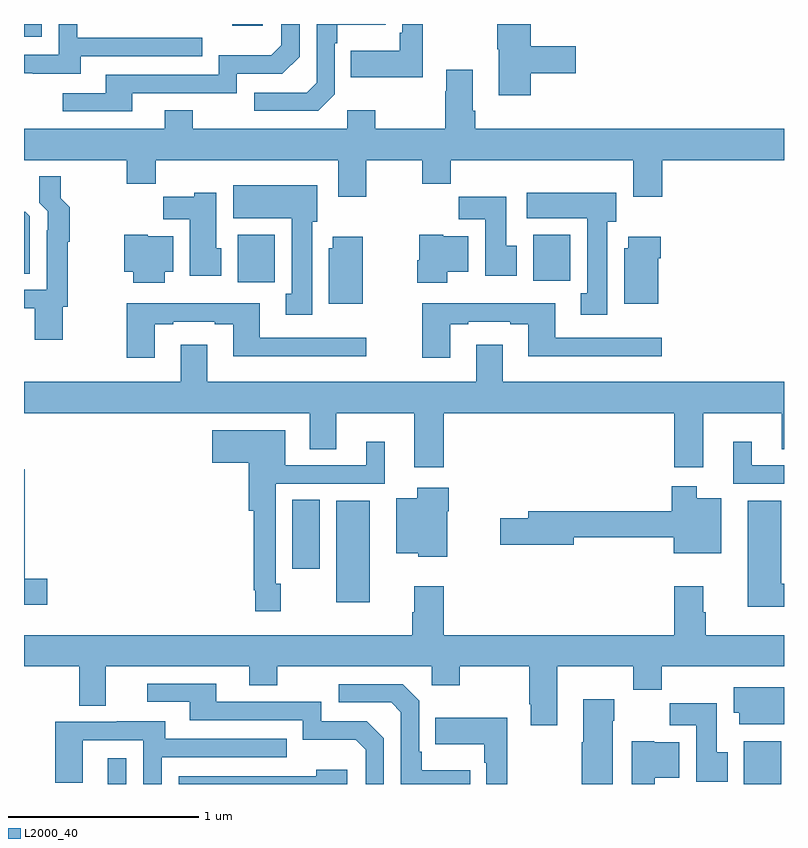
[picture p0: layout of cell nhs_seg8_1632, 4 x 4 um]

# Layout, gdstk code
import gdstk
lib = gdstk.Library(unit=1e-6, precision=1e-09)
def R(c, l, rs):  # rectangles x0, y0, x1, y1
    for r in rs: c.add(gdstk.rectangle(r[:2], r[2:], *l))
def P(c, l, *ps):  # polygons
    for p in ps: c.add(gdstk.Polygon(p, *l))
L2000_40 = (2000, 40)

nhs_seg8_1632 = lib.new_cell('nhs_seg8_1632')
R(nhs_seg8_1632, L2000_40, [(215.441,1095.9,215.538,1096.036), (218.789,1095.9,218.986,1096.126), (216.644,1096.856,216.82,1097.392), (216.413,1097.034,216.556,1097.396), (216.125,1098.54,216.321,1098.79), (217.679,1098.548,217.876,1098.79), (215,1099.833,215.094,1099.9), (216.095,1099.892,216.256,1099.9)])
P(nhs_seg8_1632, L2000_40, [(216.636,1099.53),(216.636,1099.799),(216.649,1099.799),(216.649,1099.895),(216.905,1099.895),(216.905,1099.9),(216.54,1099.9),(216.54,1099.59),(216.489,1099.539),(216.213,1099.539),(216.213,1099.443),(216.549,1099.443)],
  [(217.099,1099.9),(216.99,1099.9),(216.99,1099.855),(216.978,1099.855),(216.978,1099.759),(216.721,1099.759),(216.721,1099.619),(217.099,1099.619)],
  [(215.569,1099.536),(216.12,1099.536),(216.12,1099.638),(216.36,1099.638),(216.45,1099.728),(216.45,1099.9),(216.354,1099.9),(216.354,1099.788),(216.301,1099.735),(216.024,1099.735),(216.024,1099.632),(215.429,1099.632),(215.429,1099.536),(215.205,1099.536),(215.205,1099.44),(215.569,1099.44)],
  [(215.299,1099.731),(215.939,1099.731),(215.939,1099.827),(215.28,1099.827),(215.28,1099.9),(215.184,1099.9),(215.184,1099.737),(215,1099.737),(215,1099.641),(215.045,1099.641),(215.045,1099.637),(215.299,1099.637)],
  [(217.667,1099.642),(217.903,1099.642),(217.903,1099.784),(217.667,1099.784),(217.667,1099.9),(217.492,1099.9),(217.492,1099.767),(217.499,1099.767),(217.499,1099.524),(217.667,1099.524)],
  [(217.096,1099.06),(217.247,1099.06),(217.247,1099.184),(218.207,1099.184),(218.207,1098.99),(218.36,1098.99),(218.36,1099.184),(219,1099.184),(219,1099.348),(217.376,1099.348),(217.376,1099.444),(217.363,1099.444),(217.363,1099.66),(217.223,1099.66),(217.223,1099.547),(217.216,1099.547),(217.216,1099.348),(216.849,1099.348),(216.849,1099.447),(216.702,1099.447),(216.702,1099.348),(215.889,1099.348),(215.889,1099.447),(215.741,1099.447),(215.741,1099.348),(215,1099.348),(215,1099.184),(215.542,1099.184),(215.542,1099.06),(215.693,1099.06),(215.693,1099.184),(216.653,1099.184),(216.653,1098.99),(216.801,1098.99),(216.801,1099.184),(217.096,1099.184)],
  [(215.205,1098.411),(215.23,1098.411),(215.23,1098.754),(215.24,1098.754),(215.24,1098.936),(215.194,1098.982),(215.194,1099.099),(215.081,1099.099),(215.081,1098.958),(215.124,1098.915),(215.124,1098.815),(215.121,1098.815),(215.121,1098.501),(215,1098.501),(215,1098.404),(215.057,1098.404),(215.057,1098.237),(215.205,1098.237)],
  [(216.517,1098.858),(216.544,1098.858),(216.544,1099.051),(216.101,1099.051),(216.101,1098.878),(216.41,1098.878),(216.41,1098.481),(216.377,1098.481),(216.377,1098.369),(216.517,1098.369)],
  [(216.037,1098.72),(216.013,1098.72),(216.013,1099.012),(215.895,1099.012),(215.895,1098.99),(215.734,1098.99),(215.734,1098.872),(215.873,1098.872),(215.873,1098.576),(216.037,1098.576)],
  [(218.071,1098.858),(218.116,1098.858),(218.116,1099.012),(217.647,1099.012),(217.647,1098.878),(217.964,1098.878),(217.964,1098.482),(217.931,1098.482),(217.931,1098.369),(218.071,1098.369)],
  [(217.594,1098.732),(217.537,1098.732),(217.537,1098.991),(217.288,1098.991),(217.288,1098.872),(217.427,1098.872),(217.427,1098.576),(217.594,1098.576)],
  [(215.031,1098.888),(215.007,1098.912),(215,1098.912),(215,1098.586),(215.031,1098.586)],
  [(217.228,1098.596),(217.339,1098.596),(217.339,1098.784),(217.206,1098.784),(217.206,1098.79),(217.081,1098.79),(217.081,1098.657),(217.07,1098.657),(217.07,1098.539),(217.228,1098.539)],
  [(215.74,1098.596),(215.785,1098.596),(215.785,1098.784),(215.652,1098.784),(215.652,1098.79),(215.527,1098.79),(215.527,1098.596),(215.575,1098.596),(215.575,1098.539),(215.74,1098.539)],
  [(218.338,1098.668),(218.351,1098.668),(218.351,1098.781),(218.18,1098.781),(218.18,1098.72),(218.159,1098.72),(218.159,1098.428),(218.338,1098.428)],
  [(216.784,1098.781),(216.626,1098.781),(216.626,1098.72),(216.605,1098.72),(216.605,1098.428),(216.784,1098.428)],
  [(215.689,1098.321),(215.785,1098.321),(215.785,1098.333),(216.005,1098.333),(216.005,1098.321),(216.101,1098.321),(216.101,1098.152),(216.802,1098.152),(216.802,1098.249),(216.241,1098.249),(216.241,1098.43),(215.542,1098.43),(215.542,1098.144),(215.689,1098.144)],
  [(217.243,1098.321),(217.339,1098.321),(217.339,1098.333),(217.559,1098.333),(217.559,1098.321),(217.655,1098.321),(217.655,1098.152),(218.356,1098.152),(218.356,1098.249),(217.795,1098.249),(217.795,1098.43),(217.096,1098.43),(217.096,1098.144),(217.243,1098.144)],
  [(217.208,1097.852),(218.423,1097.852),(218.423,1097.568),(218.575,1097.568),(218.575,1097.852),(218.987,1097.852),(218.987,1097.662),(219,1097.662),(219,1098.016),(217.519,1098.016),(217.519,1098.211),(217.379,1098.211),(217.379,1098.016),(215.965,1098.016),(215.965,1098.211),(215.825,1098.211),(215.825,1098.016),(215,1098.016),(215,1097.852),(216.503,1097.852),(216.503,1097.662),(216.643,1097.662),(216.643,1097.852),(217.055,1097.852),(217.055,1097.568),(217.208,1097.568)],
  [(216.351,1096.953),(216.324,1096.953),(216.324,1097.481),(216.898,1097.481),(216.898,1097.701),(216.8,1097.701),(216.8,1097.577),(216.376,1097.577),(216.376,1097.761),(215.991,1097.761),(215.991,1097.591),(216.182,1097.591),(216.182,1097.339),(216.208,1097.339),(216.208,1096.921),(216.216,1096.921),(216.216,1096.809),(216.351,1096.809)],
  [(219,1097.577),(218.83,1097.577),(218.83,1097.701),(218.732,1097.701),(218.732,1097.481),(219,1097.481)],
  [(215.122,1096.979),(215.003,1096.979),(215.003,1097.556),(215,1097.556),(215,1096.844),(215.122,1096.844)],
  [(218.671,1097.404),(218.542,1097.404),(218.542,1097.467),(218.408,1097.467),(218.408,1097.336),(217.655,1097.336),(217.655,1097.3),(217.506,1097.3),(217.506,1097.158),(217.894,1097.158),(217.894,1097.2),(218.42,1097.2),(218.42,1097.114),(218.671,1097.114)],
  [(217.228,1097.336),(217.236,1097.336),(217.236,1097.458),(217.07,1097.458),(217.07,1097.404),(216.959,1097.404),(216.959,1097.114),(217.074,1097.114),(217.074,1097.096),(217.228,1097.096)],
  [(219,1096.954),(218.986,1096.954),(218.986,1097.392),(218.81,1097.392),(218.81,1096.832),(219,1096.832)],
  [(217.055,1096.942),(217.055,1096.805),(217.043,1096.805),(217.043,1096.684),(215,1096.684),(215,1096.52),(215.291,1096.52),(215.291,1096.312),(215.431,1096.312),(215.431,1096.52),(216.185,1096.52),(216.185,1096.421),(216.333,1096.421),(216.333,1096.52),(217.146,1096.52),(217.146,1096.421),(217.293,1096.421),(217.293,1096.52),(217.66,1096.52),(217.66,1096.321),(217.667,1096.321),(217.667,1096.209),(217.807,1096.209),(217.807,1096.52),(218.206,1096.52),(218.206,1096.396),(218.357,1096.396),(218.357,1096.52),(219,1096.52),(219,1096.684),(218.588,1096.684),(218.588,1096.805),(218.575,1096.805),(218.575,1096.942),(218.423,1096.942),(218.423,1096.684),(217.208,1096.684),(217.208,1096.942)],
  [(216.894,1096.14),(216.804,1096.23),(216.564,1096.23),(216.564,1096.332),(216.013,1096.332),(216.013,1096.428),(215.649,1096.428),(215.649,1096.332),(215.873,1096.332),(215.873,1096.236),(216.468,1096.236),(216.468,1096.133),(216.745,1096.133),(216.798,1096.08),(216.798,1095.9),(216.894,1095.9)],
  [(217.349,1095.973),(217.093,1095.973),(217.093,1096.069),(217.08,1096.069),(217.08,1096.338),(216.993,1096.425),(216.657,1096.425),(216.657,1096.329),(216.933,1096.329),(216.984,1096.278),(216.984,1095.9),(217.349,1095.9)],
  [(219,1096.408),(218.735,1096.408),(218.735,1096.274),(218.765,1096.274),(218.765,1096.214),(219,1096.214)],
  [(218.098,1096.232),(218.106,1096.232),(218.106,1096.345),(217.943,1096.345),(217.943,1096.121),(217.936,1096.121),(217.936,1095.9),(218.098,1095.9)],
  [(218.704,1096.068),(218.647,1096.068),(218.647,1096.326),(218.398,1096.326),(218.398,1096.208),(218.537,1096.208),(218.537,1095.912),(218.704,1095.912)],
  [(217.543,1096.249),(217.165,1096.249),(217.165,1096.109),(217.422,1096.109),(217.422,1096.013),(217.434,1096.013),(217.434,1095.9),(217.543,1095.9)],
  [(215.724,1096.041),(216.383,1096.041),(216.383,1096.137),(215.743,1096.137),(215.743,1096.231),(215.489,1096.231),(215.489,1096.227),(215.165,1096.227),(215.165,1095.907),(215.31,1095.907),(215.31,1096.131),(215.628,1096.131),(215.628,1095.9),(215.724,1095.9)],
  [(218.32,1095.932),(218.449,1095.932),(218.449,1096.12),(218.316,1096.12),(218.316,1096.126),(218.198,1096.126),(218.198,1095.9),(218.32,1095.9)],
  [(216.7,1095.976),(216.539,1095.976),(216.539,1095.942),(215.814,1095.942),(215.814,1095.9),(216.7,1095.9)])

lib.write_gds('nhs_seg8_1632.gds')
